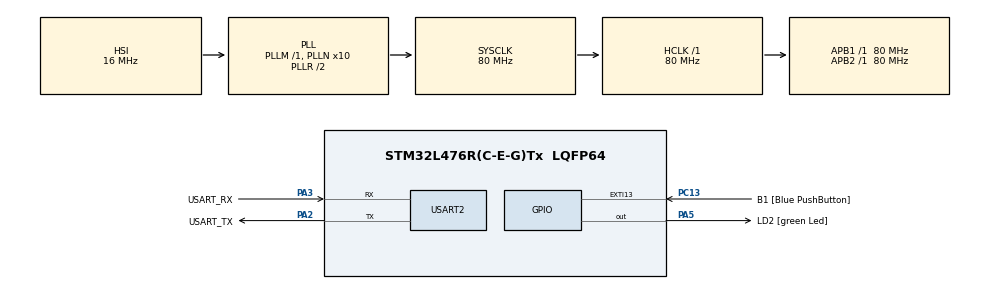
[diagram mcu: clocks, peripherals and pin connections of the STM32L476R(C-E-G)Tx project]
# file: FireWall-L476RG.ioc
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Mcu.Family=STM32L4
Mcu.Name=STM32L476R(C-E-G)Tx
Mcu.Package=LQFP64
NVIC.PriorityGroup=NVIC_PRIORITYGROUP_4
PA13\ (JTMS-SWDIO).GPIO_Label=TMS
PA13\ (JTMS-SWDIO).Mode=Serial_Wire
PA13\ (JTMS-SWDIO).Signal=SYS_JTMS-SWDIO
PA14\ (JTCK-SWCLK).GPIO_Label=TCK
PA14\ (JTCK-SWCLK).Mode=Serial_Wire
PA14\ (JTCK-SWCLK).Signal=SYS_JTCK-SWCLK
PA2.GPIO_Label=USART_TX
PA2.GPIO_Mode=GPIO_MODE_AF_PP
PA2.GPIO_PuPd=GPIO_NOPULL
PA2.GPIO_Speed=GPIO_SPEED_FREQ_VERY_HIGH
PA2.Mode=Asynchronous
PA2.Signal=USART2_TX
PA3.GPIO_Label=USART_RX
PA3.GPIO_Mode=GPIO_MODE_AF_PP
PA3.GPIO_PuPd=GPIO_NOPULL
PA3.GPIO_Speed=GPIO_SPEED_FREQ_VERY_HIGH
PA3.Mode=Asynchronous
PA3.Signal=USART2_RX
PA5.GPIO_Label=LD2 [green Led]
PA5.GPIO_ModeDefaultOutputPP=GPIO_MODE_OUTPUT_PP
PA5.GPIO_PuPd=GPIO_NOPULL
PA5.GPIO_Speed=GPIO_SPEED_FREQ_LOW
PA5.Signal=GPIO_Output
PB3\ (JTDO-TRACESWO).GPIO_Label=SWO
PB3\ (JTDO-TRACESWO).Signal=SYS_JTDO-SWO
PC13.GPIO_Label=B1 [Blue PushButton]
PC13.GPIO_ModeDefaultEXTI=GPIO_MODE_IT_FALLING
PC13.GPIO_PuPd=GPIO_NOPULL
PC13.Signal=GPXTI13
PC14-OSC32_IN\ (PC14).Mode=LSE-External-Oscillator
PC14-OSC32_IN\ (PC14).Signal=RCC_OSC32_IN
PC15-OSC32_OUT\ (PC15).Mode=LSE-External-Oscillator
PC15-OSC32_OUT\ (PC15).Signal=RCC_OSC32_OUT
PH0-OSC_IN\ (PH0).Signal=RCC_OSC_IN
PH1-OSC_OUT\ (PH1).Signal=RCC_OSC_OUT
ProjectManager.HeapSize=0x200
ProjectManager.StackSize=0x400
ProjectManager.TargetToolchain=STM32CubeIDE
RCC.ADCFreq_Value=64000000
RCC.AHBFreq_Value=80000000
RCC.APB1Freq_Value=80000000
RCC.APB1TimFreq_Value=80000000
RCC.APB2Freq_Value=80000000
RCC.APB2TimFreq_Value=80000000
RCC.CortexFreq_Value=80000000
RCC.HCLKFreq_Value=80000000
RCC.HSE_VALUE=8000000
RCC.HSI_VALUE=16000000
RCC.MSI_VALUE=4000000
RCC.PLLN=10
RCC.PLLSourceVirtual=RCC_PLLSOURCE_HSI
RCC.PREFETCH_ENABLE=1
RCC.SYSCLKFreq_VALUE=80000000
RCC.SYSCLKSource=RCC_SYSCLKSOURCE_PLLCLK
RCC.USBFreq_Value=64000000
RCC.VCOOutputFreq_Value=160000000
USART2.VirtualMode-Asynchronous=VM_ASYNC
board=NUCLEO-L476RG

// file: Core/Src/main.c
/* USER CODE BEGIN Header */
/**
  ******************************************************************************
  * @file           : main.c
  * @brief          : Main program body
  ******************************************************************************
  * @attention
  *
  * <h2><center>&copy; Copyright (c) 2021 STMicroelectronics.
  * All rights reserved.</center></h2>
  *
  * This software component is licensed by ST under BSD 3-Clause license,
  * the "License"; You may not use this file except in compliance with the
  * License. You may obtain a copy of the License at:
  *                        opensource.org/licenses/BSD-3-Clause
  *
  ******************************************************************************
  */
/* USER CODE END Header */
#include "main.h"

/* USER CODE BEGIN PD */
#define GPIO_NUMBER           (16u)
/* USER CODE END PD */

UART_HandleTypeDef huart2;

void SystemClock_Config(void);
static void MX_GPIO_Init(void);
static void MX_USART2_UART_Init(void);

/* USER CODE BEGIN 0 */
void __attribute__((__section__(".mysection"))) Protected_function(void)
{
	__HAL_FIREWALL_PREARM_DISABLE();
	Toggle_led();
	__HAL_FIREWALL_PREARM_ENABLE();
}

void __attribute__((__section__(".mysection"))) Toggle_led (void)
{
	GPIO_TypeDef* GPIOx = LD2_GPIO_Port;

	uint16_t GPIO_Pin = LD2_Pin;

	uint32_t odr;

	  /* Check the parameters */
	  assert_param(IS_GPIO_PIN(GPIO_Pin));

	  /* get current Ouput Data Register value */
	  odr = GPIOx->ODR;

	  /* Set selected pins that were at low level, and reset ones that were high */
	  GPIOx->BSRR = ((odr & GPIO_Pin) << GPIO_NUMBER) | (~odr & GPIO_Pin);
}

/* USER CODE END 0 */

int main(void)
{

  /* MCU Configuration--------------------------------------------------------*/

  /* Reset of all peripherals, Initializes the Flash interface and the Systick. */
  HAL_Init();

  /* Configure the system clock */
  SystemClock_Config();

  /* Initialize all configured peripherals */
  MX_GPIO_Init();
  MX_USART2_UART_Init();
  /* USER CODE BEGIN 2 */
  {
	  FIREWALL_InitTypeDef fw_init;

	  fw_init.CodeSegmentStartAddress = 0x080fc004;
	  fw_init.CodeSegmentLength = 0x2000;

	  fw_init.NonVDataSegmentStartAddress = 0x080fe004;
	  fw_init.NonVDataSegmentLength = 0x200;

	  fw_init.VDataSegmentStartAddress = 0x2000FE00;
	  fw_init.VDataSegmentLength = 0x200;

	  HAL_FIREWALL_Config(&fw_init);

	  HAL_FIREWALL_EnableFirewall();
  }
  /* USER CODE END 2 */

  /* Infinite loop */
  while (1)
  {

    /* USER CODE BEGIN 3 */
	  __disable_irq();
	  //Toggle_led();
	  Protected_function();
	  __enable_irq();
	  HAL_Delay(500);

  }
  /* USER CODE END 3 */
}

void SystemClock_Config(void)
{
  RCC_OscInitTypeDef RCC_OscInitStruct = {0};
  RCC_ClkInitTypeDef RCC_ClkInitStruct = {0};

  /** Configure the main internal regulator output voltage
  */
  if (HAL_PWREx_ControlVoltageScaling(PWR_REGULATOR_VOLTAGE_SCALE1) != HAL_OK)
  {
    Error_Handler();
  }
  /** Initializes the RCC Oscillators according to the specified parameters
  * in the RCC_OscInitTypeDef structure.
  */
  RCC_OscInitStruct.OscillatorType = RCC_OSCILLATORTYPE_HSI;
  RCC_OscInitStruct.HSIState = RCC_HSI_ON;
  RCC_OscInitStruct.HSICalibrationValue = RCC_HSICALIBRATION_DEFAULT;
  RCC_OscInitStruct.PLL.PLLState = RCC_PLL_ON;
  RCC_OscInitStruct.PLL.PLLSource = RCC_PLLSOURCE_HSI;
  RCC_OscInitStruct.PLL.PLLM = 1;
  RCC_OscInitStruct.PLL.PLLN = 10;
  RCC_OscInitStruct.PLL.PLLP = RCC_PLLP_DIV7;
  RCC_OscInitStruct.PLL.PLLQ = RCC_PLLQ_DIV2;
  RCC_OscInitStruct.PLL.PLLR = RCC_PLLR_DIV2;
  if (HAL_RCC_OscConfig(&RCC_OscInitStruct) != HAL_OK)
  {
    Error_Handler();
  }
  /** Initializes the CPU, AHB and APB buses clocks
  */
  RCC_ClkInitStruct.ClockType = RCC_CLOCKTYPE_HCLK|RCC_CLOCKTYPE_SYSCLK
                              |RCC_CLOCKTYPE_PCLK1|RCC_CLOCKTYPE_PCLK2;
  RCC_ClkInitStruct.SYSCLKSource = RCC_SYSCLKSOURCE_PLLCLK;
  RCC_ClkInitStruct.AHBCLKDivider = RCC_SYSCLK_DIV1;
  RCC_ClkInitStruct.APB1CLKDivider = RCC_HCLK_DIV1;
  RCC_ClkInitStruct.APB2CLKDivider = RCC_HCLK_DIV1;

  if (HAL_RCC_ClockConfig(&RCC_ClkInitStruct, FLASH_LATENCY_4) != HAL_OK)
  {
    Error_Handler();
  }
}

static void MX_USART2_UART_Init(void)
{

  huart2.Instance = USART2;
  huart2.Init.BaudRate = 115200;
  huart2.Init.WordLength = UART_WORDLENGTH_8B;
  huart2.Init.StopBits = UART_STOPBITS_1;
  huart2.Init.Parity = UART_PARITY_NONE;
  huart2.Init.Mode = UART_MODE_TX_RX;
  huart2.Init.HwFlowCtl = UART_HWCONTROL_NONE;
  huart2.Init.OverSampling = UART_OVERSAMPLING_16;
  huart2.Init.OneBitSampling = UART_ONE_BIT_SAMPLE_DISABLE;
  huart2.AdvancedInit.AdvFeatureInit = UART_ADVFEATURE_NO_INIT;
  if (HAL_UART_Init(&huart2) != HAL_OK)
  {
    Error_Handler();
  }

}

static void MX_GPIO_Init(void)
{
  GPIO_InitTypeDef GPIO_InitStruct = {0};

  /* GPIO Ports Clock Enable */
  __HAL_RCC_GPIOC_CLK_ENABLE();
  __HAL_RCC_GPIOH_CLK_ENABLE();
  __HAL_RCC_GPIOA_CLK_ENABLE();
  __HAL_RCC_GPIOB_CLK_ENABLE();

  /*Configure GPIO pin Output Level */
  HAL_GPIO_WritePin(LD2_GPIO_Port, LD2_Pin, GPIO_PIN_RESET);

  /*Configure GPIO pin : B1_Pin */
  GPIO_InitStruct.Pin = B1_Pin;
  GPIO_InitStruct.Mode = GPIO_MODE_IT_FALLING;
  GPIO_InitStruct.Pull = GPIO_NOPULL;
  HAL_GPIO_Init(B1_GPIO_Port, &GPIO_InitStruct);

  /*Configure GPIO pin : LD2_Pin */
  GPIO_InitStruct.Pin = LD2_Pin;
  GPIO_InitStruct.Mode = GPIO_MODE_OUTPUT_PP;
  GPIO_InitStruct.Pull = GPIO_NOPULL;
  GPIO_InitStruct.Speed = GPIO_SPEED_FREQ_LOW;
  HAL_GPIO_Init(LD2_GPIO_Port, &GPIO_InitStruct);

}

void Error_Handler(void)
{
  __disable_irq();
  while (1)
  {
  }
}

/************************ (C) COPYRIGHT STMicroelectronics *****END OF FILE****/
